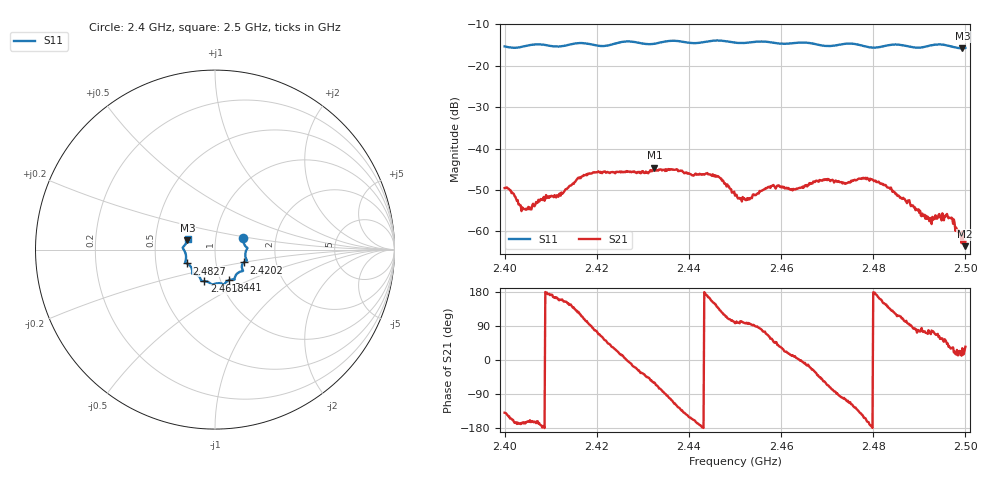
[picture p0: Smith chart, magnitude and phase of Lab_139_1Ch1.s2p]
# Hz S RI R 50
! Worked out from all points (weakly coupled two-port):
!   601 points, 2.4 GHz to 2.5 GHz, reference 50 ohm
!   highest |S21| = -44.59 dB at 2.4325 GHz (marker M1); lowest = -63.5 dB at 2.4998 GHz (marker M2)
!   lowest |S11| = -15.8 dB at 2.4993 GHz (marker M3), VSWR 1.39, Z = 36.5 + j3.81 ohm
!   |S11| at or under -10 dB: start of sweep to end of sweep
!   S12 and S22 are empty: the file has one direction only
!   S11 on the Smith chart (normalised r, x): 2.4 GHz: 1.36, +0.18; 2.4202 GHz: 1.36, -0.20; 2.441 GHz: 1.10, -0.39; 2.4618 GHz: 0.84, -0.31; 2.4827 GHz: 0.72, -0.11; 2.5 GHz: 0.73, +0.09
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2.4e9  0.1588 0.0628  -0.00253 -0.00219  0 0  0 0
2.403833e9  0.1679 0.0211  -0.0019 -0.000439  0 0  0 0
2.405333e9  0.1762 0.0127  -0.00178 -0.000531  0 0  0 0
2.416667e9  0.1773 -0.0608  -0.00197 0.00413  0 0  0 0
2.420167e9  0.1589 -0.0717  0.00159 0.00493  0 0  0 0
2.4325e9  0.1156 -0.1432  0.00301 -0.00507  0 0  0 0
2.433333e9  0.1117 -0.1508  0.00178 -0.00511  0 0  0 0
2.441e9  0.0789 -0.1698  -0.00437 -0.00176  0 0  0 0
2.446333e9  0.0491 -0.1954  -0.00339 0.00317  0 0  0 0
2.45e9  0.0288 -0.1874  -0.000337 0.00268  0 0  0 0
2.452667e9  0.00223 -0.1892  -0.000261 0.00251  0 0  0 0
2.457833e9  -0.0241 -0.1896  0.00194 0.00294  0 0  0 0
2.461833e9  -0.0589 -0.1757  0.0031 0.000887  0 0  0 0
2.466667e9  -0.0788 -0.1683  0.00343 -0.00162  0 0  0 0
2.478167e9  -0.1277 -0.1144  -0.00394 -0.00201  0 0  0 0
2.482667e9  -0.1558 -0.077  -0.00304 0.00201  0 0  0 0
2.483333e9  -0.1602 -0.075  -0.00249 0.00229  0 0  0 0
2.492167e9  -0.1739 -0.000886  0.000421 0.00126  0 0  0 0
2.4965e9  -0.1719 0.0202  0.00119 0.000858  0 0  0 0
2.499333e9  -0.1539 0.0508  0.00086 0.000517  0 0  0 0
2.499833e9  -0.1525 0.058  0.000599 0.00029  0 0  0 0
2.5e9  -0.1521 0.0605  0.000622 0.000435  0 0  0 0
